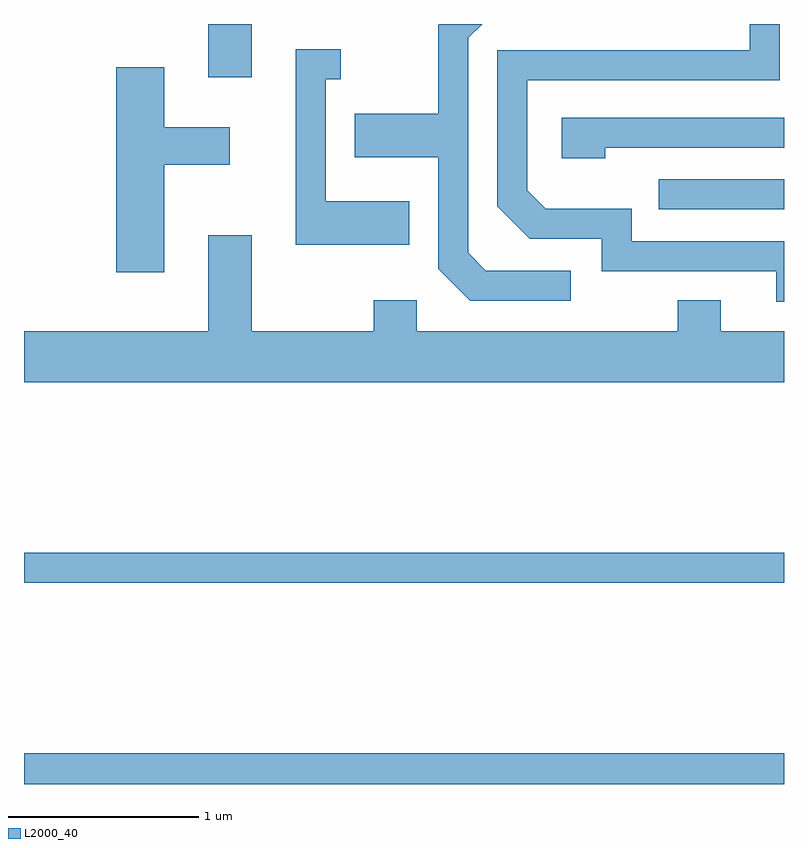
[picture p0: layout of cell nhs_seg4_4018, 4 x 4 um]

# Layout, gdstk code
import gdstk
lib = gdstk.Library(unit=1e-6, precision=1e-09)
def R(c, l, rs):  # rectangles x0, y0, x1, y1
    for r in rs: c.add(gdstk.rectangle(r[:2], r[2:], *l))
def P(c, l, *ps):  # polygons
    for p in ps: c.add(gdstk.Polygon(p, *l))
L2000_40 = (2000, 40)

nhs_seg4_4018 = lib.new_cell('nhs_seg4_4018')
R(nhs_seg4_4018, L2000_40, [(303.611,1265.982,307.611,1266.144), (303.611,1267.041,307.611,1267.199), (306.953,1269.006,307.611,1269.164), (304.581,1269.701,304.809,1269.982)])
P(nhs_seg4_4018, L2000_40, [(307.611,1268.839),(306.809,1268.839),(306.809,1269.009),(306.357,1269.009),(306.259,1269.107),(306.259,1269.686),(307.589,1269.686),(307.589,1269.982),(307.431,1269.982),(307.431,1269.844),(306.101,1269.844),(306.101,1269.024),(306.274,1268.851),(306.651,1268.851),(306.651,1268.681),(307.571,1268.681),(307.571,1268.521),(307.611,1268.521)],
  [(306.488,1268.684),(306.042,1268.684),(305.949,1268.777),(305.949,1269.909),(306.023,1269.982),(305.796,1269.982),(305.791,1269.977),(305.791,1269.509),(305.351,1269.509),(305.351,1269.281),(305.791,1269.281),(305.791,1268.694),(305.959,1268.526),(306.488,1268.526)],
  [(305.639,1269.049),(305.199,1269.049),(305.199,1269.691),(305.278,1269.691),(305.278,1269.849),(305.041,1269.849),(305.041,1268.821),(305.639,1268.821)],
  [(304.349,1269.241),(304.694,1269.241),(304.694,1269.439),(304.349,1269.439),(304.349,1269.754),(304.096,1269.754),(304.096,1268.676),(304.349,1268.676)],
  [(306.669,1269.331),(307.611,1269.331),(307.611,1269.489),(306.441,1269.489),(306.441,1269.276),(306.669,1269.276)],
  [(307.611,1268.364),(307.279,1268.364),(307.279,1268.529),(307.051,1268.529),(307.051,1268.364),(305.679,1268.364),(305.679,1268.529),(305.451,1268.529),(305.451,1268.364),(304.809,1268.364),(304.809,1268.869),(304.581,1268.869),(304.581,1268.364),(303.611,1268.364),(303.611,1268.096),(307.611,1268.096)])

lib.write_gds('nhs_seg4_4018.gds')
